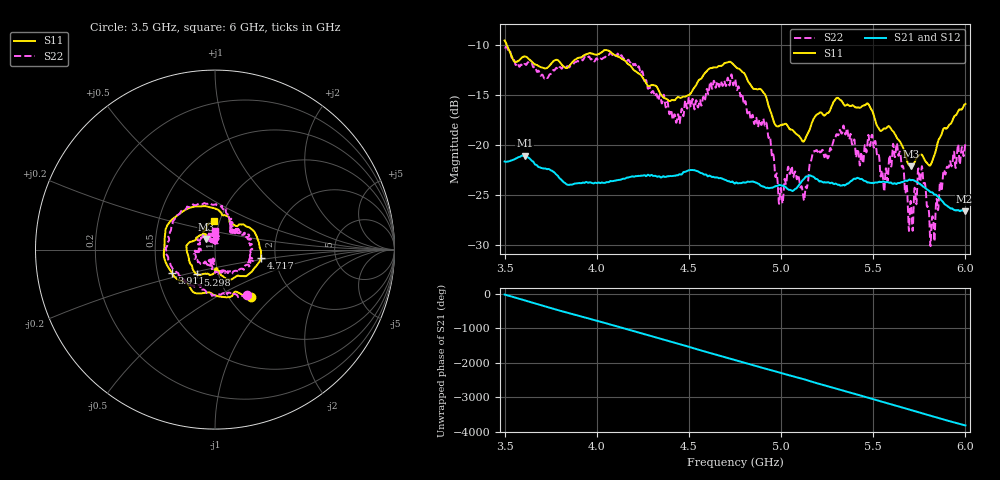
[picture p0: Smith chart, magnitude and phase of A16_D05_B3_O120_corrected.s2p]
! Created with skrf 1.9.0 (http://scikit-rf.org).
# Hz S RI R 50.0
!freq ReS11 ImS11 ReS21 ImS21 ReS12 ImS12 ReS22 ImS22
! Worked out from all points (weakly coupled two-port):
!   1601 points, 3.5 GHz to 6 GHz, reference 50 ohm
!   highest |S21| = -21.08 dB at 3.609 GHz (marker M1); lowest = -26.7 dB at 5.995 GHz (marker M2)
!   lowest |S11| = -22.2 dB at 5.706 GHz (marker M3), VSWR 1.17, Z = 44.9 + j5.4 ohm
!   |S11| at or under -10 dB: 3.512 GHz to end of sweep
!   |S22| runs from -30.1 to -10.1 dB; largest |S21 - S12| = 0.00096
!   S11 on the Smith chart (normalised r, x): 3.5 GHz: 1.26, -0.75; 3.911 GHz: 0.60, -0.17; 4.717 GHz: 1.68, -0.16; 5.298 GHz: 0.79, -0.23; 6 GHz: 0.94, +0.31
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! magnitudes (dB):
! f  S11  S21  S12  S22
! 3.5 GHz  -9.6  -21.7  -21.7  -10.3
! 3.609 GHz  -11.2  -21.1  -21.1  -11.9
! 3.911 GHz  -11.3  -23.8  -23.8  -11.6
! 3.917 GHz  -11.2  -23.8  -23.8  -11.5
! 4.334 GHz  -14.5  -23.2  -23.1  -15.6
! 4.441 GHz  -15.2  -23.1  -23.0  -16.9
! 4.717 GHz  -11.7  -23.6  -23.7  -13.9
! 4.75 GHz  -12.1  -23.9  -23.8  -13.4
! 4.914 GHz  -15.0  -24.3  -24.2  -18.0
! 4.998 GHz  -18.0  -24.0  -24.0  -24.3
! 5.048 GHz  -18.4  -24.5  -24.5  -22.9
! 5.13 GHz  -19.5  -23.3  -23.3  -24.8
! 5.167 GHz  -17.8  -23.2  -23.1  -21.3
! 5.298 GHz  -15.4  -23.9  -23.9  -19.0
! 5.584 GHz  -18.1  -23.8  -23.8  -21.8
! 5.638 GHz  -19.5  -23.8  -23.8  -21.1
! 5.706 GHz  -22.2  -23.5  -23.5  -26.1
! 5.755 GHz  -21.0  -23.9  -23.9  -23.7
! 5.822 GHz  -21.5  -24.8  -24.8  -27.2
! 5.889 GHz  -18.3  -26.0  -25.9  -22.9
! 5.995 GHz  -16.0  -26.7  -26.6  -20.5
! 6 GHz  -15.9  -26.6  -26.6  -19.8
